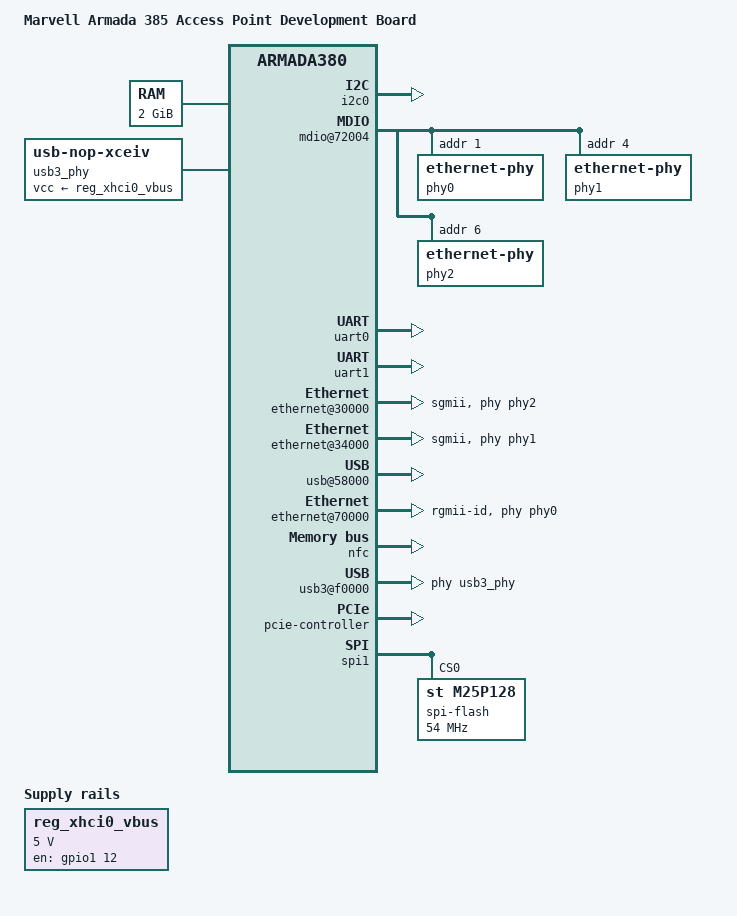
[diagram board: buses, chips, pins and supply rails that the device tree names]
/*
 * Device Tree file for Marvell Armada 385 Access Point Development board
 * (DB-88F6820-AP)
 *
 *  Copyright (C) 2014 Marvell
 *
 * Nadav Haklai <nadavh@marvell.com>
 *
 * This file is dual-licensed: you can use it either under the terms
 * of the GPL or the X11 license, at your option. Note that this dual
 * licensing only applies to this file, and not this project as a
 * whole.
 *
 *  a) This file is licensed under the terms of the GNU General Public
 *     License version 2.  This program is licensed "as is" without
 *     any warranty of any kind, whether express or implied.
 *
 * Or, alternatively,
 *
 *  b) Permission is hereby granted, free of charge, to any person
 *     obtaining a copy of this software and associated documentation
 *     files (the "Software"), to deal in the Software without
 *     restriction, including without limitation the rights to use,
 *     copy, modify, merge, publish, distribute, sublicense, and/or
 *     sell copies of the Software, and to permit persons to whom the
 *     Software is furnished to do so, subject to the following
 *     conditions:
 *
 *     The above copyright notice and this permission notice shall be
 *     included in all copies or substantial portions of the Software.
 *
 *     THE SOFTWARE IS PROVIDED "AS IS", WITHOUT WARRANTY OF ANY KIND,
 *     EXPRESS OR IMPLIED, INCLUDING BUT NOT LIMITED TO THE WARRANTIES
 *     OF MERCHANTABILITY, FITNESS FOR A PARTICULAR PURPOSE AND
 *     NONINFRINGEMENT. IN NO EVENT SHALL THE AUTHORS OR COPYRIGHT
 *     HOLDERS BE LIABLE FOR ANY CLAIM, DAMAGES OR OTHER LIABILITY,
 *     WHETHER IN AN ACTION OF CONTRACT, TORT OR OTHERWISE, ARISING
 *     FROM, OUT OF OR IN CONNECTION WITH THE SOFTWARE OR THE USE OR
 *     OTHER DEALINGS IN THE SOFTWARE.
 */

/dts-v1/;
#include "armada-385.dtsi"

#include <dt-bindings/gpio/gpio.h>

/ {
	model = "Marvell Armada 385 Access Point Development Board";
	compatible = "marvell,a385-db-ap", "marvell,armada385", "marvell,armada380";

	chosen {
		stdout-path = "serial1:115200n8";
	};

	memory {
		device_type = "memory";
		reg = <0x00000000 0x80000000>; /* 2GB */
	};

	soc {
		ranges = <MBUS_ID(0xf0, 0x01) 0 0xf1000000 0x100000
			  MBUS_ID(0x01, 0x1d) 0 0xfff00000 0x100000
			  MBUS_ID(0x09, 0x19) 0 0xf1100000 0x10000
			  MBUS_ID(0x09, 0x15) 0 0xf1110000 0x10000
			  MBUS_ID(0x0c, 0x04) 0 0xf1200000 0x100000>;

		internal-regs {
			i2c0: i2c@11000 {
				pinctrl-names = "default";
				pinctrl-0 = <&i2c0_pins>;
				status = "okay";

				/*
				 * This bus is wired to two EEPROM
				 * sockets, one of which holding the
				 * board ID used by the	bootloader.
				 * Erasing this EEPROM's content will
				 * brick the board.
				 * Use this bus with caution.
				 */
			};

			mdio@72004 {
				pinctrl-names = "default";
				pinctrl-0 = <&mdio_pins>;

				phy0: ethernet-phy@1 {
					reg = <1>;
				};

				phy1: ethernet-phy@4 {
					reg = <4>;
				};

				phy2: ethernet-phy@6 {
					reg = <6>;
				};
			};

			/* UART0 is exposed through the JP8 connector */
			uart0: serial@12000 {
				pinctrl-names = "default";
				pinctrl-0 = <&uart0_pins>;
				status = "okay";
			};

			/*
			 * UART1 is exposed through a FTDI chip
			 * wired to the mini-USB connector
			 */
			uart1: serial@12100 {
				pinctrl-names = "default";
				pinctrl-0 = <&uart1_pins>;
				status = "okay";
			};

			pinctrl@18000 {
				xhci0_vbus_pins: xhci0-vbus-pins {
					marvell,pins = "mpp44";
					marvell,function = "gpio";
				};
			};

			/* CON3 */
			ethernet@30000 {
				status = "okay";
				phy = <&phy2>;
				phy-mode = "sgmii";
				buffer-manager = <&bm>;
				bm,pool-long = <1>;
				bm,pool-short = <3>;
			};

			/* CON2 */
			ethernet@34000 {
				status = "okay";
				phy = <&phy1>;
				phy-mode = "sgmii";
				buffer-manager = <&bm>;
				bm,pool-long = <2>;
				bm,pool-short = <3>;
			};

			usb@58000 {
				status = "okay";
			};

			/* CON4 */
			ethernet@70000 {
				pinctrl-names = "default";

				/*
				 * The Reference Clock 0 is used to
				 * provide a clock to the PHY
				 */
				pinctrl-0 = <&ge0_rgmii_pins>, <&ref_clk0_pins>;
				status = "okay";
				phy = <&phy0>;
				phy-mode = "rgmii-id";
				buffer-manager = <&bm>;
				bm,pool-long = <0>;
				bm,pool-short = <3>;
			};

			bm@c8000 {
				status = "okay";
			};

			nfc: flash@d0000 {
				status = "okay";
				num-cs = <1>;
				nand-ecc-strength = <4>;
				nand-ecc-step-size = <512>;
				marvell,nand-keep-config;
				marvell,nand-enable-arbiter;
				nand-on-flash-bbt;

				partitions {
					compatible = "fixed-partitions";
					#address-cells = <1>;
					#size-cells = <1>;

					partition@0 {
						label = "U-Boot";
						reg = <0x00000000 0x00800000>;
						read-only;
					};

					partition@800000 {
						label = "uImage";
						reg = <0x00800000 0x00400000>;
						read-only;
					};

					partition@c00000 {
						label = "Root";
						reg = <0x00c00000 0x3f400000>;
					};
				};
			};

			usb3@f0000 {
				status = "okay";
				usb-phy = <&usb3_phy>;
			};
		};

		bm-bppi {
			status = "okay";
		};

		pcie-controller {
			status = "okay";

			/*
			 * The three PCIe units are accessible through
			 * standard mini-PCIe slots on the board.
			 */
			pcie@1,0 {
				/* Port 0, Lane 0 */
				status = "okay";
			};

			pcie@2,0 {
				/* Port 1, Lane 0 */
				status = "okay";
			};

			pcie@3,0 {
				/* Port 2, Lane 0 */
				status = "okay";
			};
		};
	};

	usb3_phy: usb3_phy {
		compatible = "usb-nop-xceiv";
		vcc-supply = <&reg_xhci0_vbus>;
	};

	reg_xhci0_vbus: xhci0-vbus {
		compatible = "regulator-fixed";
		pinctrl-names = "default";
		pinctrl-0 = <&xhci0_vbus_pins>;
		regulator-name = "xhci0-vbus";
		regulator-min-microvolt = <5000000>;
		regulator-max-microvolt = <5000000>;
		enable-active-high;
		gpio = <&gpio1 12 GPIO_ACTIVE_HIGH>;
	};
};

&spi1 {
	pinctrl-names = "default";
	pinctrl-0 = <&spi1_pins>;
	status = "okay";

	spi-flash@0 {
		#address-cells = <1>;
		#size-cells = <1>;
		compatible = "st,m25p128", "jedec,spi-nor";
		reg = <0>; /* Chip select 0 */
		spi-max-frequency = <54000000>;
	};
};
